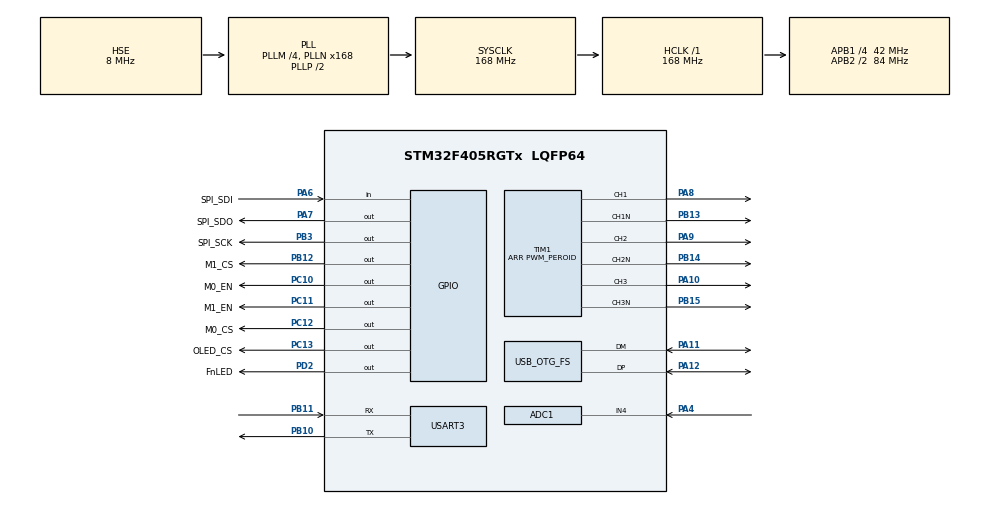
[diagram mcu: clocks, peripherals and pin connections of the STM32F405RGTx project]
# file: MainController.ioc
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ADC1.Channel-1\#ChannelRegularConversion=ADC_CHANNEL_4
ADC1.ContinuousConvMode=ENABLE
ADC1.NbrOfConversionFlag=1
ADC1.Rank-1\#ChannelRegularConversion=1
ADC1.SamplingTime-1\#ChannelRegularConversion=ADC_SAMPLETIME_3CYCLES
ADC1.master=1
Mcu.Family=STM32F4
Mcu.Name=STM32F405RGTx
Mcu.Package=LQFP64
Mcu.UserConstants=PWM_PEROID,(CKTIM/(2*PWM_FREQ));CKTIM,168000000;PWM_FREQ,15000
NVIC.OTG_FS_IRQn=true\:0\:0\:false\:false\:true\:false\:true
NVIC.PriorityGroup=NVIC_PRIORITYGROUP_4
NVIC.TIM6_DAC_IRQn=true\:14\:0\:true\:false\:true\:true\:true
PA10.Signal=S_TIM1_CH3
PA11.Mode=Device_Only
PA11.Signal=USB_OTG_FS_DM
PA12.Mode=Device_Only
PA12.Signal=USB_OTG_FS_DP
PA13.Mode=Serial_Wire
PA13.Signal=SYS_JTMS-SWDIO
PA14.Mode=Serial_Wire
PA14.Signal=SYS_JTCK-SWCLK
PA4.Signal=ADCx_IN4
PA6.GPIO_Label=SPI_SDI
PA6.Signal=GPIO_Input
PA7.GPIO_Label=SPI_SDO
PA7.Signal=GPIO_Output
PA8.Signal=S_TIM1_CH1
PA9.Signal=S_TIM1_CH2
PB10.Mode=Multiprocessor_communication
PB10.Signal=USART3_TX
PB11.Mode=Multiprocessor_communication
PB11.Signal=USART3_RX
PB12.GPIO_Label=M1_CS
PB12.PinState=GPIO_PIN_SET
PB12.Signal=GPIO_Output
PB13.Mode=PWM Generation1 CH1 CH1N
PB13.Signal=TIM1_CH1N
PB14.Mode=PWM Generation2 CH2 CH2N
PB14.Signal=TIM1_CH2N
PB15.Mode=PWM Generation3 CH3 CH3N
PB15.Signal=TIM1_CH3N
PB3.GPIO_Label=SPI_SCK
PB3.Signal=GPIO_Output
PC10.GPIO_Label=M0_EN
PC10.Signal=GPIO_Output
PC11.GPIO_Label=M1_EN
PC11.Signal=GPIO_Output
PC12.GPIO_Label=M0_CS
PC12.PinState=GPIO_PIN_SET
PC12.Signal=GPIO_Output
PC13-ANTI_TAMP.GPIO_Label=OLED_CS
PC13-ANTI_TAMP.PinState=GPIO_PIN_SET
PC13-ANTI_TAMP.Signal=GPIO_Output
PD2.GPIO_Label=FnLED
PD2.Signal=GPIO_Output
PH0-OSC_IN.Mode=HSE-External-Oscillator
PH0-OSC_IN.Signal=RCC_OSC_IN
PH1-OSC_OUT.Mode=HSE-External-Oscillator
PH1-OSC_OUT.Signal=RCC_OSC_OUT
ProjectManager.HeapSize=0x1000
ProjectManager.StackSize=0x400
ProjectManager.TargetToolchain=MDK-ARM V5.32
RCC.48MHZClocksFreq_Value=48000000
RCC.AHBFreq_Value=168000000
RCC.APB1CLKDivider=RCC_HCLK_DIV4
RCC.APB1Freq_Value=42000000
RCC.APB1TimFreq_Value=84000000
RCC.APB2CLKDivider=RCC_HCLK_DIV2
RCC.APB2Freq_Value=84000000
RCC.APB2TimFreq_Value=168000000
RCC.CortexFreq_Value=168000000
RCC.EnbaleCSS=true
RCC.HCLKFreq_Value=168000000
RCC.HSE_VALUE=8000000
RCC.HSI_VALUE=16000000
RCC.LSE_VALUE=32768
RCC.PLLM=4
RCC.PLLN=168
RCC.PLLQ=7
RCC.SYSCLKFreq_VALUE=168000000
RCC.SYSCLKSource=RCC_SYSCLKSOURCE_PLLCLK
RCC.VCOOutputFreq_Value=336000000
SH.ADCx_IN4.0=ADC1_IN4,IN4
SH.S_TIM1_CH1.0=TIM1_CH1,PWM Generation1 CH1 CH1N
SH.S_TIM1_CH2.0=TIM1_CH2,PWM Generation2 CH2 CH2N
SH.S_TIM1_CH3.0=TIM1_CH3,PWM Generation3 CH3 CH3N
TIM1.AutoReloadPreload=TIM_AUTORELOAD_PRELOAD_DISABLE
TIM1.BreakPolarity=TIM_BREAKPOLARITY_LOW
TIM1.BreakState=TIM_BREAK_DISABLE
TIM1.Channel-PWM\ Generation1\ CH1\ CH1N=TIM_CHANNEL_1
TIM1.Channel-PWM\ Generation2\ CH2\ CH2N=TIM_CHANNEL_2
TIM1.Channel-PWM\ Generation3\ CH3\ CH3N=TIM_CHANNEL_3
TIM1.Channel-PWM\ Generation4\ No\ Output=TIM_CHANNEL_4
TIM1.CounterMode=TIM_COUNTERMODE_CENTERALIGNED1
TIM1.DeadTime=10
TIM1.LockLevel=TIM_LOCKLEVEL_1
TIM1.OCMode_PWM-PWM\ Generation4\ No\ Output=TIM_OCMODE_PWM2
TIM1.OCNIdleState_1=TIM_OCNIDLESTATE_SET
TIM1.OCNIdleState_2=TIM_OCNIDLESTATE_SET
TIM1.OCNIdleState_3=TIM_OCNIDLESTATE_SET
TIM1.OffStateIDLEMode=TIM_OSSI_ENABLE
TIM1.OffStateRunMode=TIM_OSSR_ENABLE
TIM1.Period=PWM_PEROID
TIM1.TIM_MasterOutputTrigger=TIM_TRGO_OC4REF
TIM6.AutoReloadPreload=TIM_AUTORELOAD_PRELOAD_ENABLE
TIM6.Period=8399
TIM6.Prescaler=0
USART3.VirtualMode=VM_ASYNC
USB_DEVICE.APP_RX_DATA_SIZE-CDC_FS=2048
USB_DEVICE.CLASS_NAME_FS=CDC
USB_DEVICE.MANUFACTURER_STRING-CDC_FS=LuHeQiu
USB_DEVICE.PRODUCT_STRING_CDC_FS=FOC Device
USB_DEVICE.VirtualMode-CDC_FS=Cdc
USB_DEVICE.VirtualModeFS=Cdc_FS
USB_OTG_FS.VirtualMode=Device_Only
VP_TIM1_VS_ClockSourceINT.Mode=Internal
VP_TIM1_VS_no_output4.Mode=PWM Generation4 No Output
VP_TIM6_VS_ClockSourceINT.Mode=Enable_Timer
VP_USB_DEVICE_VS_USB_DEVICE_CDC_FS.Mode=CDC_FS
board=custom

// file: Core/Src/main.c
/* USER CODE BEGIN Header */
/**
  ******************************************************************************
  * @file           : main.c
  * @brief          : Main program body
  ******************************************************************************
  * @attention
  *
  * <h2><center>&copy; Copyright (c) 2021 STMicroelectronics.
  * All rights reserved.</center></h2>
  *
  * This software component is licensed by ST under BSD 3-Clause license,
  * the "License"; You may not use this file except in compliance with the
  * License. You may obtain a copy of the License at:
  *                        opensource.org/licenses/BSD-3-Clause
  *
  ******************************************************************************
  */
/* USER CODE END Header */
#include "main.h"
#include "adc.h"
#include "tim.h"
#include "usart.h"
#include "usb_device.h"
#include "gpio.h"

/* USER CODE BEGIN Includes */
#include "screen_drive.h"
#include "spi.h"
#include "led.h"
#include "lgui.h"
#include "picture.h"
#include "usbd_cdc_if.h"
#include "command.h"
#include "function.h"
#include "foc.h"
/* USER CODE END Includes */

/* USER CODE BEGIN PV */
__IO float add, mul;
__IO Vector2 U_target_ab;
__IO Vector3 T_target_uvw;
/* USER CODE END PV */

void SystemClock_Config(void);

int main(void)
{

  /* MCU Configuration--------------------------------------------------------*/

  /* Reset of all peripherals, Initializes the Flash interface and the Systick. */
  HAL_Init();

  /* Configure the system clock */
  SystemClock_Config();

  /* Initialize all configured peripherals */
  MX_GPIO_Init();
  MX_USART3_UART_Init();
  MX_TIM6_Init();
  MX_ADC1_Init();
  MX_USB_DEVICE_Init();
  MX_TIM1_Init();
  /* USER CODE BEGIN 2 */
  led.OFF();
  oled.Init();
  HAL_GPIO_WritePin(M0_EN_GPIO_Port,M0_EN_Pin,GPIO_PIN_SET);
  HAL_GPIO_WritePin(M1_EN_GPIO_Port,M1_EN_Pin,GPIO_PIN_SET);

  HAL_TIM_PWM_Start(&htim1,TIM_CHANNEL_1);
  HAL_TIM_PWM_Start(&htim1,TIM_CHANNEL_2);
  HAL_TIM_PWM_Start(&htim1,TIM_CHANNEL_3);
  HAL_TIMEx_PWMN_Start(&htim1,TIM_CHANNEL_1);
  HAL_TIMEx_PWMN_Start(&htim1,TIM_CHANNEL_2);
  HAL_TIMEx_PWMN_Start(&htim1,TIM_CHANNEL_3);
  __HAL_TIM_SET_COMPARE(&htim1, TIM_CHANNEL_1, 0);
  __HAL_TIM_SET_COMPARE(&htim1, TIM_CHANNEL_2, 0);
  __HAL_TIM_SET_COMPARE(&htim1, TIM_CHANNEL_3, 0);

  //oled.Draw(10, 10, 1);
  lgui.ShowPicture(0, 0, foc, 48, 16, 1); lgui.ShowString(48, 16, 8, 1, 1, (uint8_t*)"v0.1");

  lgui.Fill(3, 33, 16, 45, 1);
  lgui.Fill(3, 49, 16, 61, 1);
  lgui.ShowString(4, 44, 12, 0, 1, (uint8_t*)"M0");
  lgui.ShowString(4, 60, 12, 0, 1, (uint8_t*)"M1");

  lgui.ShowString(18, 36, 8, 1, 1, (uint8_t*)"N=%4drpm F=%1.2fNM", 21,0.51);
  lgui.ShowString(18, 45, 8, 1, 1, (uint8_t*)"X=%13drad",13548641);

  lgui.ShowString(18, 54, 8, 1, 1, (uint8_t*)"N=%4drpm F=%1.2fNM",1345,0.01);
  lgui.ShowString(18, 63, 8, 1, 1, (uint8_t*)"X=%13drad",2313);

  //lgui.ShowString(0, 30, 12, 1, 1, (uint8_t*)"A:%04d",20);

  /* USER CODE END 2 */

  /* Infinite loop */
  while (1)
  {

    /* USER CODE BEGIN 3 */

    U_target_ab = (Vector2){0.1, 0.0};
    /* SVPWM 算法一耗时测量 */
    for (int i = 0; i < 100000; i++){
      SVPWM(&U_target_ab, 0.8f, &T_target_uvw);
    }
    /* SVPWM 算法二耗时测量 */
    for (int i = 0; i < 100000; i++){
      SVPWM2(&U_target_ab, 0.8f, &T_target_uvw);
    }

    //led.Shift();
    //HAL_Delay(500);
    HAL_ADC_Start(&hadc1);
    if(HAL_ADC_PollForConversion(&hadc1,0xff)==HAL_OK){
      lgui.ShowString(4,26,8,1,1,(uint8_t*)"Uin=%2.2fV",3.3f*HAL_ADC_GetValue(&hadc1)/4096*12.026f);
    }
    //HAL_Delay(10);
    ParsingCommand();
  }
  /* USER CODE END 3 */
}

void SystemClock_Config(void)
{
  RCC_OscInitTypeDef RCC_OscInitStruct = {0};
  RCC_ClkInitTypeDef RCC_ClkInitStruct = {0};

  /** Configure the main internal regulator output voltage
  */
  __HAL_RCC_PWR_CLK_ENABLE();
  __HAL_PWR_VOLTAGESCALING_CONFIG(PWR_REGULATOR_VOLTAGE_SCALE1);
  /** Initializes the RCC Oscillators according to the specified parameters
  * in the RCC_OscInitTypeDef structure.
  */
  RCC_OscInitStruct.OscillatorType = RCC_OSCILLATORTYPE_HSE;
  RCC_OscInitStruct.HSEState = RCC_HSE_ON;
  RCC_OscInitStruct.PLL.PLLState = RCC_PLL_ON;
  RCC_OscInitStruct.PLL.PLLSource = RCC_PLLSOURCE_HSE;
  RCC_OscInitStruct.PLL.PLLM = 4;
  RCC_OscInitStruct.PLL.PLLN = 168;
  RCC_OscInitStruct.PLL.PLLP = RCC_PLLP_DIV2;
  RCC_OscInitStruct.PLL.PLLQ = 7;
  if (HAL_RCC_OscConfig(&RCC_OscInitStruct) != HAL_OK)
  {
    Error_Handler();
  }
  /** Initializes the CPU, AHB and APB buses clocks
  */
  RCC_ClkInitStruct.ClockType = RCC_CLOCKTYPE_HCLK|RCC_CLOCKTYPE_SYSCLK
                              |RCC_CLOCKTYPE_PCLK1|RCC_CLOCKTYPE_PCLK2;
  RCC_ClkInitStruct.SYSCLKSource = RCC_SYSCLKSOURCE_PLLCLK;
  RCC_ClkInitStruct.AHBCLKDivider = RCC_SYSCLK_DIV1;
  RCC_ClkInitStruct.APB1CLKDivider = RCC_HCLK_DIV4;
  RCC_ClkInitStruct.APB2CLKDivider = RCC_HCLK_DIV2;

  if (HAL_RCC_ClockConfig(&RCC_ClkInitStruct, FLASH_LATENCY_5) != HAL_OK)
  {
    Error_Handler();
  }
  /** Enables the Clock Security System
  */
  HAL_RCC_EnableCSS();
}

/* USER CODE BEGIN 4 */

void HAL_TIM_PeriodElapsedCallback(TIM_HandleTypeDef *htim)
{
   if(htim == &htim6){
     LED_PeriodElapsedCallback();
   }
}
/* USER CODE END 4 */

void Error_Handler(void)
{
  __disable_irq();
  while (1)
  {
  }
}

/************************ (C) COPYRIGHT STMicroelectronics *****END OF FILE****/
